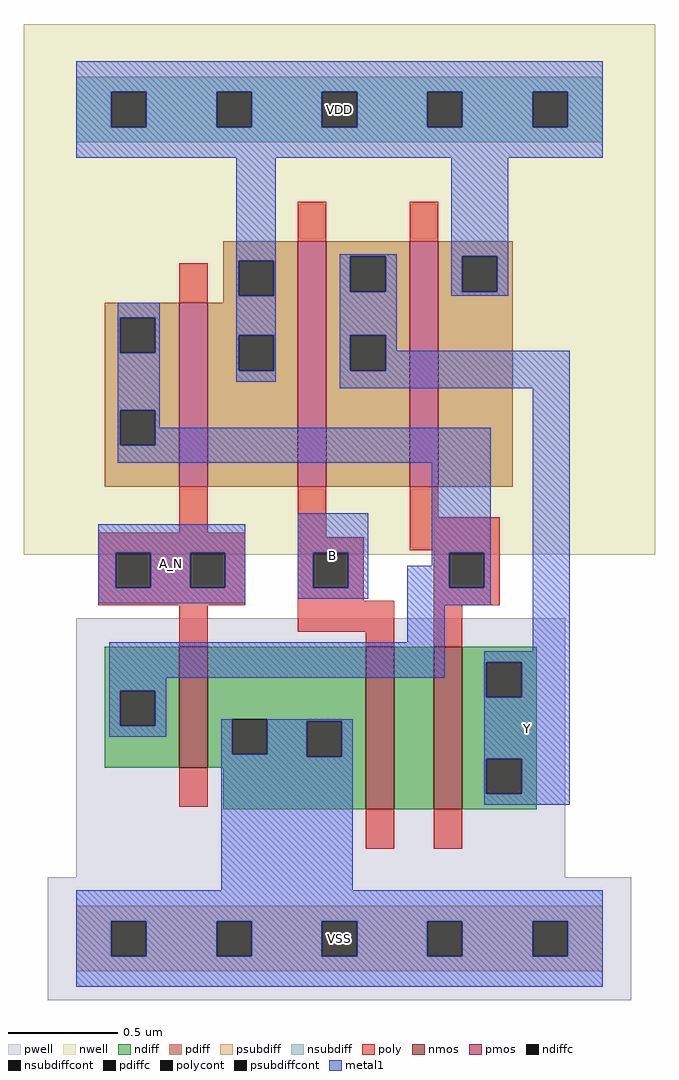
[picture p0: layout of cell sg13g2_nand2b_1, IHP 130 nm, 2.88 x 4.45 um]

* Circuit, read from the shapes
.subckt sg13g2_nand2b_1 VSS A_N Y B VDD
XM1 VSS A_N n1 VSS sg13_lv_nmos w=0.55u l=0.13u
XM2 n2 B VSS VSS sg13_lv_nmos w=0.74u l=0.13u
XM3 Y n1 n2 VSS sg13_lv_nmos w=0.74u l=0.13u
XM4 VDD A_N n1 VDD sg13_lv_pmos w=0.84u l=0.13u
XM5 Y B VDD VDD sg13_lv_pmos w=1.12u l=0.13u
XM6 VDD n1 Y VDD sg13_lv_pmos w=1.12u l=0.13u
.ends

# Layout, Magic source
magic
tech ihp-sg13g2
<< nwell >>
rect -24 175 264 417
<< pwell >>
rect 0 28 223 146
rect -13 -28 253 28
<< nmos >>
rect 47 78 60 133
rect 132 59 145 133
rect 163 59 176 133
<< pmos >>
rect 47 206 60 290
rect 101 206 114 318
rect 152 206 165 318
<< ndiff >>
rect 13 113 47 133
rect 13 97 20 113
rect 36 97 47 113
rect 13 78 47 97
rect 60 100 132 133
rect 60 84 71 100
rect 87 99 132 100
rect 87 84 105 99
rect 60 83 105 84
rect 121 83 132 99
rect 60 78 132 83
rect 67 59 132 78
rect 145 59 163 133
rect 176 126 210 133
rect 176 110 187 126
rect 203 110 210 126
rect 176 82 210 110
rect 176 66 187 82
rect 203 66 210 82
rect 176 59 210 66
<< pdiff >>
rect 67 309 101 318
rect 67 293 74 309
rect 90 293 101 309
rect 67 290 101 293
rect 13 283 47 290
rect 13 267 20 283
rect 36 267 47 283
rect 13 241 47 267
rect 13 225 20 241
rect 36 225 47 241
rect 13 206 47 225
rect 60 275 101 290
rect 60 259 74 275
rect 90 259 101 275
rect 60 206 101 259
rect 114 311 152 318
rect 114 295 125 311
rect 141 295 152 311
rect 114 275 152 295
rect 114 259 125 275
rect 141 259 152 275
rect 114 206 152 259
rect 165 311 199 318
rect 165 295 176 311
rect 192 295 199 311
rect 165 206 199 295
<< ndiffc >>
rect 20 97 36 113
rect 71 84 87 100
rect 105 83 121 99
rect 187 110 203 126
rect 187 66 203 82
<< pdiffc >>
rect 74 293 90 309
rect 20 267 36 283
rect 20 225 36 241
rect 74 259 90 275
rect 125 295 141 311
rect 125 259 141 275
rect 176 295 192 311
<< psubdiff >>
rect 0 8 240 15
rect 0 -8 16 8
rect 32 -8 64 8
rect 80 -8 112 8
rect 128 -8 160 8
rect 176 -8 208 8
rect 224 -8 240 8
rect 0 -15 240 -8
<< nsubdiff >>
rect 0 386 240 393
rect 0 370 16 386
rect 32 370 64 386
rect 80 370 112 386
rect 128 370 160 386
rect 176 370 208 386
rect 224 370 240 386
rect 0 363 240 370
<< psubdiffcont >>
rect 16 -8 32 8
rect 64 -8 80 8
rect 112 -8 128 8
rect 160 -8 176 8
rect 208 -8 224 8
<< nsubdiffcont >>
rect 16 370 32 386
rect 64 370 80 386
rect 112 370 128 386
rect 160 370 176 386
rect 208 370 224 386
<< poly >>
rect 101 318 114 336
rect 152 318 165 336
rect 47 290 60 308
rect 47 185 60 206
rect 10 176 77 185
rect 10 160 18 176
rect 34 160 52 176
rect 68 160 77 176
rect 10 152 77 160
rect 101 183 114 206
rect 152 192 165 206
rect 101 176 131 183
rect 152 177 193 192
rect 101 160 108 176
rect 124 160 131 176
rect 101 154 131 160
rect 163 176 193 177
rect 163 160 170 176
rect 186 160 193 176
rect 47 133 60 152
rect 101 140 145 154
rect 132 133 145 140
rect 163 152 193 160
rect 163 133 176 152
rect 47 60 60 78
rect 132 41 145 59
rect 163 41 176 59
<< polycont >>
rect 18 160 34 176
rect 52 160 68 176
rect 108 160 124 176
rect 170 160 186 176
<< metal1 >>
rect 0 386 240 400
rect 0 370 16 386
rect 32 370 64 386
rect 80 370 112 386
rect 128 370 160 386
rect 176 370 208 386
rect 224 370 240 386
rect 0 356 240 370
rect 73 309 91 356
rect 73 293 74 309
rect 90 293 91 309
rect 19 283 38 290
rect 19 267 20 283
rect 36 267 38 283
rect 19 241 38 267
rect 73 275 91 293
rect 73 259 74 275
rect 90 259 91 275
rect 73 254 91 259
rect 120 311 146 312
rect 120 295 125 311
rect 141 295 146 311
rect 120 275 146 295
rect 171 311 197 356
rect 171 295 176 311
rect 192 295 197 311
rect 171 293 197 295
rect 120 259 125 275
rect 141 268 146 275
rect 141 259 225 268
rect 120 251 225 259
rect 19 225 20 241
rect 36 233 38 241
rect 36 225 189 233
rect 19 217 189 225
rect 10 176 77 189
rect 10 160 18 176
rect 34 160 52 176
rect 68 160 77 176
rect 10 153 77 160
rect 101 176 133 194
rect 101 160 108 176
rect 124 160 133 176
rect 162 176 189 217
rect 162 170 170 176
rect 101 155 133 160
rect 151 160 170 170
rect 186 160 189 176
rect 151 152 189 160
rect 151 135 168 152
rect 15 119 168 135
rect 208 131 225 251
rect 186 126 225 131
rect 15 113 41 119
rect 15 97 20 113
rect 36 97 41 113
rect 186 110 187 126
rect 203 110 225 126
rect 15 92 41 97
rect 66 84 71 100
rect 87 99 126 100
rect 87 84 105 99
rect 66 83 105 84
rect 121 83 126 99
rect 66 22 126 83
rect 186 82 225 110
rect 186 66 187 82
rect 203 66 225 82
rect 186 61 225 66
rect 0 8 240 22
rect 0 -8 16 8
rect 32 -8 64 8
rect 80 -8 112 8
rect 128 -8 160 8
rect 176 -8 208 8
rect 224 -8 240 8
rect 0 -22 240 -8
<< labels >>
flabel metal1 s 0 -22 240 22 0 FreeSans 200 0 0 0 VSS
port 2 nsew
flabel metal1 s 10 153 77 189 0 FreeSans 200 0 0 0 A_N
port 3 nsew
flabel metal1 s 186 61 225 131 0 FreeSans 200 0 0 0 Y
port 4 nsew
flabel metal1 s 101 155 133 194 0 FreeSans 200 0 0 0 B
port 5 nsew
flabel metal1 s 0 356 240 400 0 FreeSans 200 0 0 0 VDD
port 6 nsew
<< properties >>
string FIXED_BBOX 0 0 240 378
string GDS_END 118104
string GDS_FILE ../gds/controller.gds
string GDS_START 113616
<< end >>
